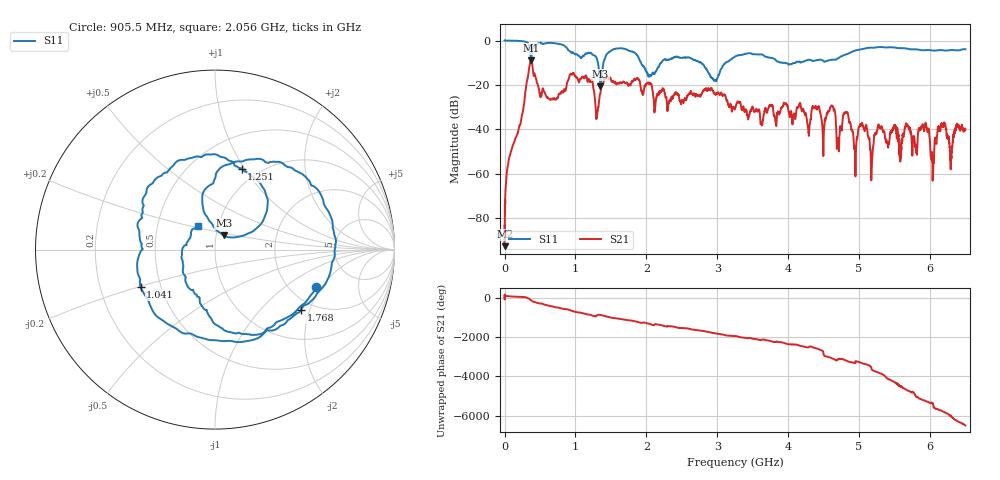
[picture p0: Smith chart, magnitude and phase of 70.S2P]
!Keysight Technologies,E5063A,MY54503115,A.05.08
!Date: Mon Dec 11 14:48:49 2023
!Data & Calibration Information:
!Freq	S11:NONE(--)	S21:NONE(--)	S12:NONE(--)	S22:NONE(--)
# Hz S dB R 50
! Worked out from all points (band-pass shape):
!   10001 points, 100 kHz to 6.5 GHz, reference 50 ohm
!   highest |S21| = -8.83 dB at 372.5 MHz (marker M1); lowest = -92.6 dB at 1.4 MHz (marker M2)
!   |S21| within 3 dB of the highest: 349.1 MHz to 393.7 MHz (44.59 MHz wide, 12 % of centre)
!   lowest |S11| = -20.6 dB at 1.352 GHz (marker M3), VSWR 1.20, Z = 54.4 + j8.68 ohm
!   |S11| at or under -10 dB: 1.926 GHz to 2.204 GHz (278.6 MHz wide, 13.5 % of centre); 2.771 GHz to 3.117 GHz (346.4 MHz wide, 11.8 % of centre); 3.956 GHz to 4.103 GHz (147.6 MHz wide, 3.66 % of centre) (the widest 3 of 7)
!   S12 and S22 are empty: the file has one direction only
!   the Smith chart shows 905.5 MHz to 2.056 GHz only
!   S11 on the Smith chart (normalised r, x): 905.5 MHz: 2.73, -1.80; 1.041 GHz: 0.38, -0.20; 1.251 GHz: 0.84, +0.97; 1.768 GHz: 1.70, -1.75; 2.056 GHz: 0.80, +0.21
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100000  0.05 -0.6  -83.40 71.1  -200.00 0.0  -200.00 0.0
1399980  0.00 -0.8  -92.59 -10.1  -200.00 0.0  -200.00 0.0
2.308464e8  -0.21 -76.7  -36.06 46.8  -200.00 0.0  -200.00 0.0
3.725443e8  -8.36 -126.4  -8.83 -128.9  -200.00 0.0  -200.00 0.0
5.785911e8  -1.29 168.9  -24.52 -8.6  -200.00 0.0  -200.00 0.0
7.254888e8  -1.29 97.2  -26.57 -126.8  -200.00 0.0  -200.00 0.0
9.055361e8  -4.40 -20.4  -17.13 109.3  -200.00 0.0  -200.00 0.0
1.040734e9  -6.66 -153.4  -18.21 -32.1  -200.00 0.0  -200.00 0.0
1.083633e9  -7.69 175.1  -17.02 -49.0  -200.00 0.0  -200.00 0.0
1.251331e9  -6.47 71.7  -21.44 150.5  -200.00 0.0  -200.00 0.0
1.352079e9  -20.65 58.5  -23.70 -156.1  -200.00 0.0  -200.00 0.0
1.502227e9  -4.50 55.1  -17.80 64.7  -200.00 0.0  -200.00 0.0
1.768073e9  -4.65 -35.3  -20.05 -77.1  -200.00 0.0  -200.00 0.0
2.056018e9  -15.91 125.7  -19.65 96.1  -200.00 0.0  -200.00 0.0
2.167167e9  -11.92 48.8  -24.04 67.0  -200.00 0.0  -200.00 0.0
3.25005e9  -7.21 -49.3  -30.59 -148.0  -200.00 0.0  -200.00 0.0
4.333583e9  -8.96 -131.9  -31.15 19.0  -200.00 0.0  -200.00 0.0
5.417117e9  -3.04 163.0  -46.50 169.3  -200.00 0.0  -200.00 0.0
5.921509e9  -4.39 132.3  -40.25 179.8  -200.00 0.0  -200.00 0.0
6.032657e9  -4.46 125.9  -54.52 27.3  -200.00 0.0  -200.00 0.0
6.182805e9  -4.35 118.9  -38.47 -28.3  -200.00 0.0  -200.00 0.0
6.5e9  -3.89 108.4  -40.09 -21.1  -200.00 0.0  -200.00 0.0
